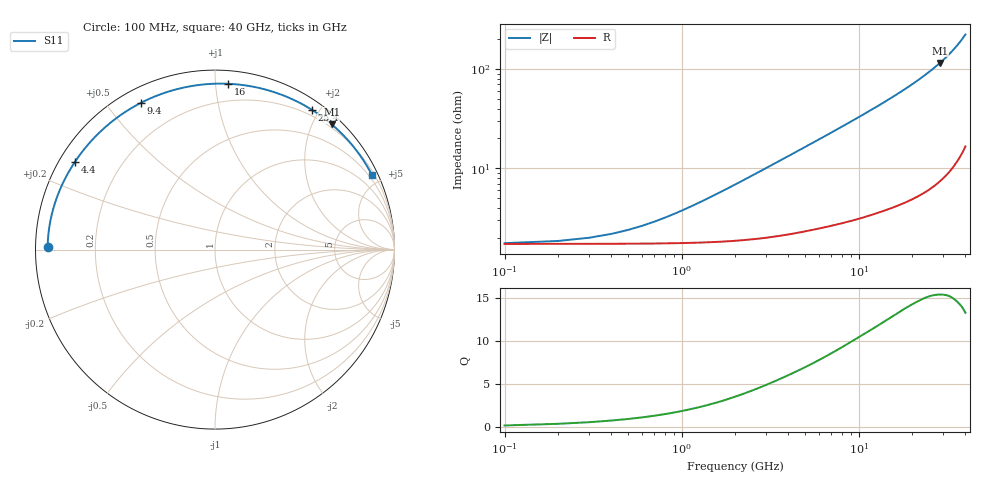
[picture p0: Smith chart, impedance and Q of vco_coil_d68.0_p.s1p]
#  Hz  S  RI  R  50
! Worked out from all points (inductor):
!   400 points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, 100 MHz to 40 GHz, reference 50 ohm
!   read as one part to ground: L = 525 pH near 1.7 GHz
!   highest Q = 15.4 at 28.7 GHz (marker M1), where L = 635 pH
!   S11 on the Smith chart (normalised r, x): 100 MHz: 0.03, +0.01; 4.4 GHz: 0.04, +0.29; 9.4 GHz: 0.06, +0.61; 16 GHz: 0.08, +1.08; 25.4 GHz: 0.12, +1.91; 40 GHz: 0.33, +4.43
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1e8  -0.9326 0.0124
1.1e9  -0.9216 0.1354
2.1e9  -0.8935 0.2534
3.2e9  -0.846 0.3735
4.4e9  -0.7792 0.4906
5.1e9  -0.7347 0.5519
6.1e9  -0.6659 0.6305
7.2e9  -0.5848 0.7048
8.3e9  -0.5002 0.7669
9.4e9  -0.4137 0.8172
1.01e10  -0.3586 0.8434
1.13e10  -0.2649 0.8787
1.25e10  -0.1736 0.903
1.38e10  -0.0784 0.9186
1.51e10  0.012 0.9246
1.6e10  0.0717 0.924
1.8e10  0.1948 0.9108
2.01e10  0.3101 0.8835
2.26e10  0.4294 0.8384
2.51e10  0.531 0.7844
2.54e10  0.5421 0.7775
2.7e10  0.5975 0.7396
2.87e10  0.6501 0.6978
3.01e10  0.689 0.6628
3.25e10  0.7475 0.602
3.51e10  0.8002 0.536
3.75e10  0.8406 0.4759
4e10  0.8755 0.414
